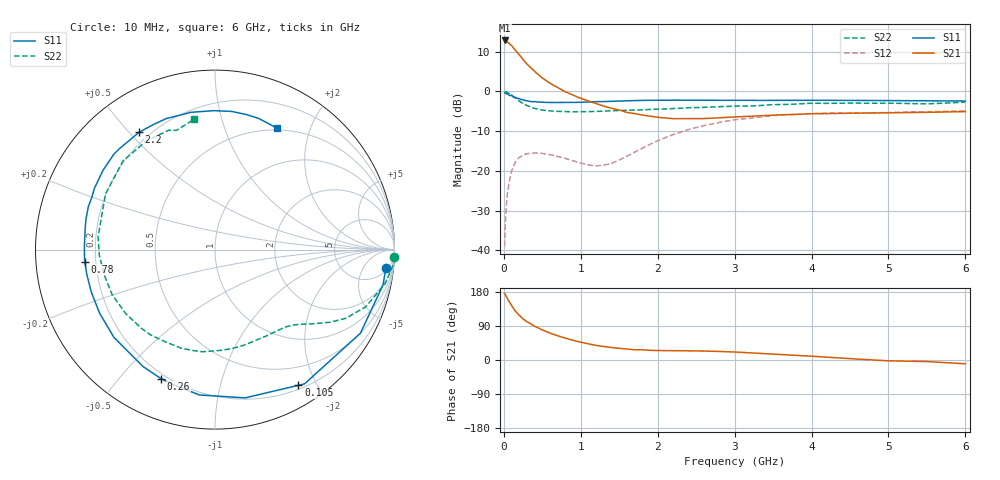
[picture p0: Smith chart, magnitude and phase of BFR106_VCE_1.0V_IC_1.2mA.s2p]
! Infineon Technologies  Discrete & RF Semiconductors
! BFR106
! VCE =  1.0 V,  IC =  1.2 mA
! Common Emitter S-Parameters:  Nov 2015
# GHz  S  MA  R  50
!  f  S11  S21  S12  S22
! GHz  MAG  ANG  MAG  ANG  MAG  ANG  MAG  ANG
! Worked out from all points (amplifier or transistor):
!   210 points, 10 MHz to 6 GHz, reference 50 ohm
!   highest |S21| = 12.8 dB at 10 MHz (marker M1)
!   |S21| within 3 dB of that: start of sweep to 173.3 MHz
!   unconditionally stable (mu >= 1): 817.6 MHz to end of sweep
!   at 185 MHz: K = 0.23, MSG = 13.3 dB, |S12| = -17.0 dB
!   at 1.52 GHz: K = 1.44, MAG = 2.2 dB, |S12| = -17.1 dB
!   at 6 GHz: K = 1.02, MAG = -1.0 dB, |S12| = -4.9 dB
!   S11 on the Smith chart (normalised r, x): 10 MHz: 6, -16; 105 MHz: 0.25, -1.76; 260 MHz: 0.18, -0.65; 780 MHz: 0.16, -0.05; 2.2 GHz: 0.16, +0.53; 6 GHz: 0.48, +1.52
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0.01  0.9576 -6.2  4.387 175.3  0.0113 87.8  0.9992 -2.4
0.02  0.9564 -11.9  4.342 172.3  0.0227 81.8  0.9969 -4.8
0.04  0.9315 -23.8  4.217 164.2  0.0443 74.2  0.9757 -9.1
0.05  0.9346 -29.9  4.188 160.0  0.0552 72.6  0.9672 -11.3
0.105  0.8878 -58.4  3.746 142.4  0.1025 56.9  0.8903 -21.4
0.15  0.843 -78.5  3.305 128.7  0.1295 46.1  0.8233 -27.7
0.2  0.8144 -96.1  2.905 118.0  0.1477 37.7  0.7579 -32.3
0.26  0.7791 -112.7  2.461 106.8  0.1597 29.5  0.6933 -36.5
0.3  0.7652 -121.6  2.213 101.0  0.1649 25.8  0.6656 -38.5
0.4  0.7458 -139.1  1.786 89.0  0.1686 18.2  0.6123 -43.1
0.5  0.734 -151.3  1.479 79.1  0.1662 13.4  0.5834 -47.6
0.6  0.7286 -161.2  1.271 70.8  0.1604 10.8  0.5697 -52.2
0.78  0.7279 -174.7  1.015 58.8  0.1455 9.4  0.5572 -61.6
1.02  0.7325 171.0  0.807 46.1  0.1241 15.6  0.5567 -74.8
1.4  0.7537 153.1  0.614 32.8  0.1246 42.1  0.5735 -97.1
2.02  0.7726 128.9  0.471 25.0  0.244 57.4  0.6004 -134.2
2.2  0.7788 122.9  0.455 24.6  0.2864 55.5  0.612 -144.5
2.6  0.7789 110.3  0.456 23.7  0.372 47.4  0.6323 -166.6
3.1  0.7745 98.2  0.483 20.0  0.4508 35.2  0.6541 169.5
4.1  0.7741 81.9  0.525 8.7  0.5295 14.5  0.7097 133.2
5.1  0.7683 70.7  0.541 -2.6  0.5456 0.3  0.7102 110.5
6  0.7592 63.1  0.558 -10.0  0.5705 -9.1  0.7354 99.0
